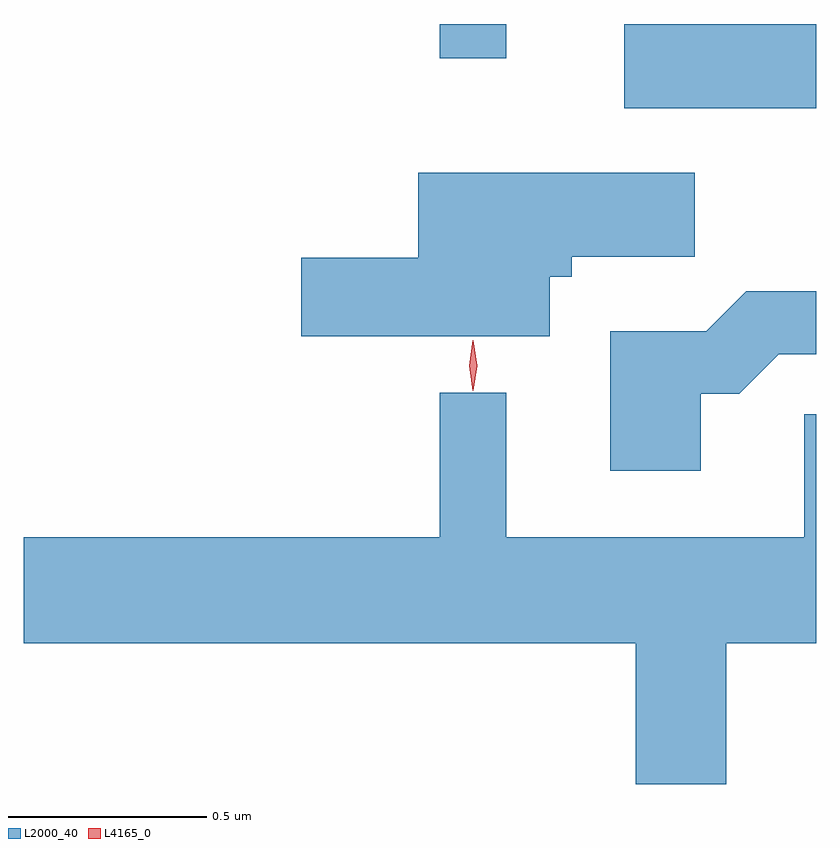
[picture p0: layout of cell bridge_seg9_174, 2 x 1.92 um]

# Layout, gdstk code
import gdstk
lib = gdstk.Library(unit=1e-6, precision=1e-09)
def R(c, l, rs):  # rectangles x0, y0, x1, y1
    for r in rs: c.add(gdstk.rectangle(r[:2], r[2:], *l))
def P(c, l, *ps):  # polygons
    for p in ps: c.add(gdstk.Polygon(p, *l))
L2000_40 = (2000, 40)
L4165_0 = (4165, 0)

bridge_seg9_174 = lib.new_cell('bridge_seg9_174')
R(bridge_seg9_174, L2000_40, [(1385.756,2050.886,1386.241,2051.099), (1385.291,2051.012,1385.459,2051.099)])
P(bridge_seg9_174, L2000_40, [(1385.569,2050.461),(1385.624,2050.461),(1385.624,2050.511),(1385.934,2050.511),(1385.934,2050.724),(1385.236,2050.724),(1385.236,2050.509),(1384.941,2050.509),(1384.941,2050.311),(1385.569,2050.311)],
  [(1385.949,2050.166),(1386.047,2050.166),(1386.147,2050.266),(1386.241,2050.266),(1386.241,2050.424),(1386.064,2050.424),(1385.964,2050.324),(1385.721,2050.324),(1385.721,2049.971),(1385.949,2049.971)],
  [(1386.014,2049.536),(1386.241,2049.536),(1386.241,2050.114),(1386.211,2050.114),(1386.211,2049.804),(1385.459,2049.804),(1385.459,2050.168),(1385.291,2050.168),(1385.291,2049.804),(1384.241,2049.804),(1384.241,2049.536),(1385.786,2049.536),(1385.786,2049.181),(1386.014,2049.181)])
P(bridge_seg9_174, L4165_0, [(1385.375,2050.173),(1385.374,2050.174),(1385.365,2050.237),(1385.374,2050.301),(1385.374,2050.301),(1385.375,2050.301),(1385.385,2050.237),(1385.376,2050.174)])

lib.write_gds('bridge_seg9_174.gds')
